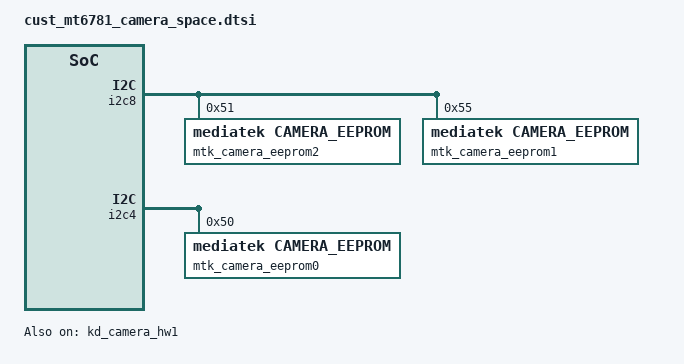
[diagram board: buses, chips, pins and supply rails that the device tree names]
// SPDX-License-Identifier: GPL-2.0+
/*
 * Copyright (c) 2019 MediaTek Inc.
 *
 */
/* CAMERA GPIO standardization */
&pio {
	camera0_rst_low: camera0_rst_output_low@gpio20 {
		pins_cmd_dat {
			pinmux = <PINMUX_GPIO20__FUNC_GPIO20>;
			output-low;
		};
	};
	camera0_rst_high: camera0_rst_output_high@gpio20 {
		pins_cmd_dat {
			pinmux = <PINMUX_GPIO20__FUNC_GPIO20>;
			output-high;
		};
	};
	camera0_mclk_2ma: camera0_mclk_2ma@gpio141 {
		pins_cmd_dat {
			pinmux = <PINMUX_GPIO141__FUNC_CMMCLK1>;
			drive-strength = <0>;
		};
	};
	camera0_mclk_4ma: camera0_mclk_4ma@gpio141 {
		pins_cmd_dat {
			pinmux = <PINMUX_GPIO141__FUNC_CMMCLK1>;
			drive-strength = <1>;
		};
	};
	camera0_mclk_6ma: camera0_mclk_6ma@gpio141 {
		pins_cmd_dat {
			pinmux = <PINMUX_GPIO141__FUNC_CMMCLK1>;
			drive-strength = <2>;
		};
	};
	camera0_mclk_8ma: camera0_mclk_8ma@gpio141 {
		pins_cmd_dat {
			pinmux = <PINMUX_GPIO141__FUNC_CMMCLK1>;
			drive-strength = <3>;
		};
	};
	camera0_mclk_off: camera0_mclk_gpio_mode@gpio141 {
		pins_cmd_dat {
			pinmux = <PINMUX_GPIO141__FUNC_GPIO141>;
			drive-strength = <1>;
		};
	};

		camera1_rst_low: camera1_rst_output_low@gpio18 {
		pins_cmd_dat {
			pinmux = <PINMUX_GPIO18__FUNC_GPIO18>;
			output-low;
		};
	};
	camera1_rst_high: camera1_rst_output_high@gpio18 {
		pins_cmd_dat {
			pinmux = <PINMUX_GPIO18__FUNC_GPIO18>;
			output-high;
		};
	};
	camera1_mclk_2ma: camera1_mclk_2ma@gpio140 {
		pins_cmd_dat {
			pinmux = <PINMUX_GPIO140__FUNC_CMMCLK0>;
			drive-strength = <0>;
		};
	};
	camera1_mclk_4ma: camera1_mclk_4ma@gpio140 {
		pins_cmd_dat {
			pinmux = <PINMUX_GPIO140__FUNC_CMMCLK0>;
			drive-strength = <1>;
		};
	};
	camera1_mclk_6ma: camera1_mclk_6ma@gpio140 {
		pins_cmd_dat {
			pinmux = <PINMUX_GPIO140__FUNC_CMMCLK0>;
			drive-strength = <2>;
		};
	};
	camera1_mclk_8ma: camera1_mclk_8ma@gpio140 {
		pins_cmd_dat {
			pinmux = <PINMUX_GPIO140__FUNC_CMMCLK0>;
			drive-strength = <3>;
		};
	};
	camera1_mclk_off: camera1_mclk_gpio_mode@gpio140 {
		pins_cmd_dat {
			pinmux = <PINMUX_GPIO140__FUNC_GPIO140>;
			drive-strength = <1>;
		};
	};
	camera2_mclk_2ma: camera2_mclk_2ma@gpio142 {
		pins_cmd_dat {
			pinmux = <PINMUX_GPIO142__FUNC_CMMCLK2>;
			drive-strength = <0>;
		};
	};
	camera2_mclk_4ma: camera2_mclk_4ma@gpio142 {
		pins_cmd_dat {
			pinmux = <PINMUX_GPIO142__FUNC_CMMCLK2>;
			drive-strength = <1>;
		};
	};
	camera2_mclk_6ma: camera2_mclk_6ma@gpio142 {
		pins_cmd_dat {
			pinmux = <PINMUX_GPIO142__FUNC_CMMCLK2>;
			drive-strength = <2>;
		};
	};
	camera2_mclk_8ma: camera2_mclk_8ma@gpio142 {
		pins_cmd_dat {
			pinmux = <PINMUX_GPIO142__FUNC_CMMCLK2>;
			drive-strength = <3>;
		};
	};
	camera2_mclk_off: camera2_mclk_gpio_mode@gpio142 {
		pins_cmd_dat {
			pinmux = <PINMUX_GPIO142__FUNC_GPIO142>;
			drive-strength = <1>;
		};
	};
	camera2_rst_low: camera2_rst_output_low@gpio22 {
		pins_cmd_dat {
			pinmux = <PINMUX_GPIO22__FUNC_GPIO22>;
			output-low;
		};
	};
	camera2_rst_high: camera2_rst_output_high@gpio22 {
		pins_cmd_dat {
			pinmux = <PINMUX_GPIO22__FUNC_GPIO22>;
			output-high;
		};
	};
	camera3_rst_low: camera3_rst_output_low@gpio26 {
		pins_cmd_dat {
			pinmux = <PINMUX_GPIO26__FUNC_GPIO26>;
			output-low;
		};
	};
	camera3_rst_high: camera3_rst_output_high@gpio26 {
		pins_cmd_dat {
			pinmux = <PINMUX_GPIO26__FUNC_GPIO26>;
			output-high;
		};
	};
	camera3_mclk_off: camera3_mclk_gpio_mode@gpio60 {
		pins_cmd_dat {
			pinmux = <PINMUX_GPIO60__FUNC_GPIO60>;
			drive-strength = <1>;
		};
	};
	camera3_mclk_2ma: camera3_mclk_2ma@gpio60 {
		pins_cmd_dat {
			pinmux = <PINMUX_GPIO60__FUNC_CMMCLK4>;
			drive-strength = <0>;
		};
	};
	camera3_mclk_4ma: camera3_mclk_4ma@gpio60 {
		pins_cmd_dat {
			pinmux = <PINMUX_GPIO60__FUNC_CMMCLK4>;
			drive-strength = <1>;
		};
	};
	camera3_mclk_6ma: camera3_mclk_6ma@gpio60 {
		pins_cmd_dat {
			pinmux = <PINMUX_GPIO60__FUNC_CMMCLK4>;
			drive-strength = <2>;
		};
	};
	camera3_mclk_8ma: camera3_mclk_8ma@gpio60 {
		pins_cmd_dat {
			pinmux = <PINMUX_GPIO60__FUNC_CMMCLK4>;
			drive-strength = <3>;
		};
	};
	camera_pins_default: camdefault {
	};
};
&kd_camera_hw1 {
	pinctrl-names = "default",
			"cam0_rst0", "cam0_rst1",
			"cam0_mclk_off",
			"cam0_mclk_2mA", "cam0_mclk_4mA",
			"cam0_mclk_6mA", "cam0_mclk_8mA",
			"cam1_rst0", "cam1_rst1",
			"cam1_mclk_2mA", "cam1_mclk_4mA",
			"cam1_mclk_6mA", "cam1_mclk_8mA",
			"cam1_mclk_off",
			"cam2_mclk_off",
			"cam2_mclk_2mA", "cam2_mclk_4mA",
			"cam2_mclk_6mA", "cam2_mclk_8mA",
			"cam2_rst0","cam2_rst1",
			"cam3_rst0", "cam3_rst1",
			"cam3_mclk_off",
			"cam3_mclk_2mA", "cam3_mclk_4mA",
			"cam3_mclk_6mA", "cam3_mclk_8mA";
	pinctrl-0 = <&camera_pins_default>;
	pinctrl-1 = <&camera0_rst_low>;
	pinctrl-2 = <&camera0_rst_high>;
	pinctrl-3 = <&camera0_mclk_off>;
	pinctrl-4 = <&camera0_mclk_2ma>;
	pinctrl-5 = <&camera0_mclk_4ma>;
	pinctrl-6 = <&camera0_mclk_6ma>;
	pinctrl-7 = <&camera0_mclk_8ma>;
	pinctrl-8 = <&camera1_rst_low>;
	pinctrl-9 = <&camera1_rst_high>;
	pinctrl-10 = <&camera1_mclk_2ma>;
	pinctrl-11 = <&camera1_mclk_4ma>;
	pinctrl-12 = <&camera1_mclk_6ma>;
	pinctrl-13 = <&camera1_mclk_8ma>;
	pinctrl-14 = <&camera1_mclk_off>;
	pinctrl-15 = <&camera2_mclk_off>;
	pinctrl-16 = <&camera2_mclk_2ma>;
	pinctrl-17 = <&camera2_mclk_4ma>;
	pinctrl-18 = <&camera2_mclk_6ma>;
	pinctrl-19 = <&camera2_mclk_8ma>;
	pinctrl-20 = <&camera2_rst_low>;
	pinctrl-21 = <&camera2_rst_high>;
	pinctrl-22 = <&camera3_rst_low>;
	pinctrl-23 = <&camera3_rst_high>;
	pinctrl-24 = <&camera3_mclk_off>;
	pinctrl-25 = <&camera3_mclk_2ma>;
	pinctrl-26 = <&camera3_mclk_4ma>;
	pinctrl-27 = <&camera3_mclk_6ma>;
	pinctrl-28 = <&camera3_mclk_8ma>;

	cam0_enable_sensor = "s5kjn1_mipi_raw_21690 ov64b40_mipi_raw_21690";
	cam1_enable_sensor = "hi1634q_mipi_raw_21690 s5k3p9sp_mipi_raw_21690";
	cam2_enable_sensor = "gc02m1hlt_mipi_raw_21690 gc02m1shine_mipi_raw_21690";
	cam3_enable_sensor = "ov02b1b_mipi_mono_21690 gc02m1bsy_mipi_raw_21690";

	status = "okay";
};
/* CAMERA GPIO end */


&i2c8 {
	mtk_camera_eeprom2:camera_eeprom2@51 {
		compatible = "mediatek,camera_eeprom";
		reg = <0x51>;
		status = "okay";
	};
	mtk_camera_eeprom1:camera_eeprom1@55 {
		compatible = "mediatek,camera_eeprom";
		reg = <0x55>;
		status = "okay";
	};
};
&i2c4 {
	mtk_camera_eeprom0:camera_eeprom0@50 {
		compatible = "mediatek,camera_eeprom";
		reg = <0x50>;
		status = "okay";
	};
};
